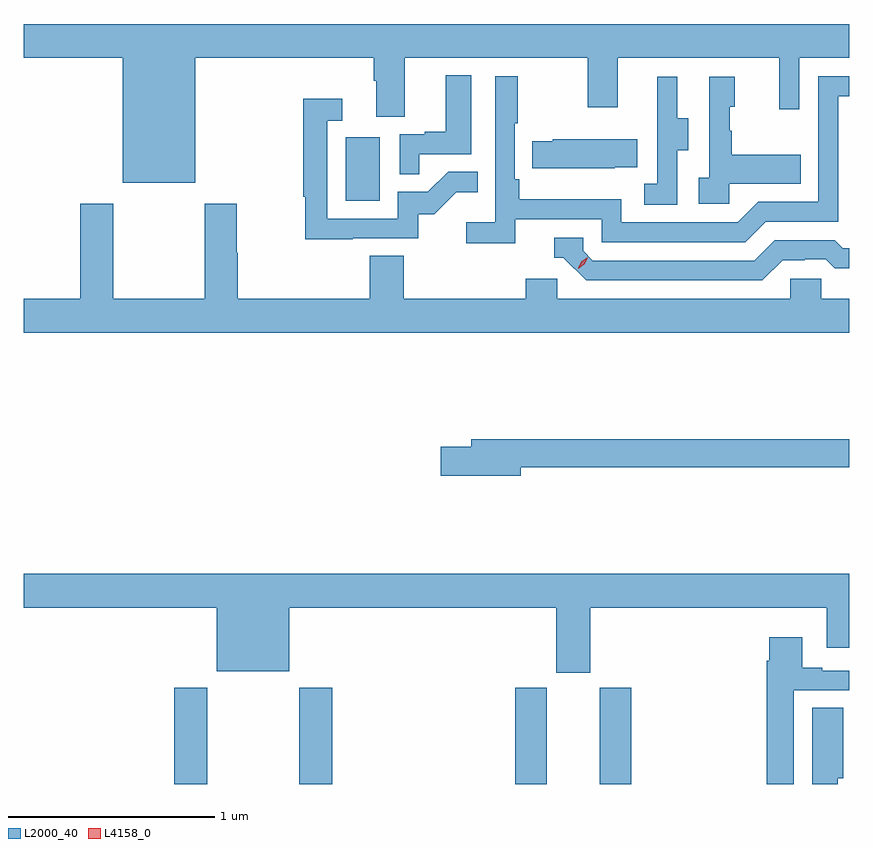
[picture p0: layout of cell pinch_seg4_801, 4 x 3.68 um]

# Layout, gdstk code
import gdstk
lib = gdstk.Library(unit=1e-6, precision=1e-09)
def R(c, l, rs):  # rectangles x0, y0, x1, y1
    for r in rs: c.add(gdstk.rectangle(r[:2], r[2:], *l))
def P(c, l, *ps):  # polygons
    for p in ps: c.add(gdstk.Polygon(p, *l))
L2000_40 = (2000, 40)
L4158_0 = (4158, 0)

pinch_seg4_801 = lib.new_cell('pinch_seg4_801')
R(pinch_seg4_801, L2000_40, [(816.725,807.953,816.885,808.42), (817.33,807.953,817.49,808.42), (818.378,807.953,818.53,808.419), (818.786,807.953,818.939,808.419), (817.556,810.78,817.72,811.087)])
P(pinch_seg4_801, L2000_40, [(816.826,811.472),(817.691,811.472),(817.691,811.36),(817.703,811.36),(817.703,811.186),(817.843,811.186),(817.843,811.472),(818.728,811.472),(818.728,811.233),(818.875,811.233),(818.875,811.472),(819.656,811.472),(819.656,811.224),(819.753,811.224),(819.753,811.472),(819.996,811.472),(819.996,811.636),(815.996,811.636),(815.996,811.472),(816.476,811.472),(816.476,810.866),(816.826,810.866)],
  [(817.913,811.005),(818.164,811.005),(818.164,811.387),(818.042,811.387),(818.042,811.114),(817.939,811.114),(817.939,811.101),(817.818,811.101),(817.818,810.907),(817.913,810.907)],
  [(818.378,810.69),(818.796,810.69),(818.796,810.579),(819.493,810.579),(819.592,810.678),(819.942,810.678),(819.942,811.287),(819.996,811.287),(819.996,811.383),(819.846,811.383),(819.846,810.774),(819.555,810.774),(819.456,810.675),(818.892,810.675),(818.892,810.787),(818.396,810.787),(818.396,810.883),(818.376,810.883),(818.376,811.156),(818.389,811.156),(818.389,811.384),(818.28,811.384),(818.28,810.676),(818.139,810.676),(818.139,810.574),(818.378,810.574)],
  [(819.162,811.024),(819.217,811.024),(819.217,811.179),(819.163,811.179),(819.163,811.381),(819.065,811.381),(819.065,811.167),(819.066,811.167),(819.066,810.863),(819.003,810.863),(819.003,810.76),(819.162,810.76)],
  [(819.414,810.863),(819.761,810.863),(819.761,811.003),(819.427,811.003),(819.427,811.118),(819.417,811.118),(819.417,811.236),(819.442,811.236),(819.442,811.381),(819.318,811.381),(819.318,810.89),(819.267,810.89),(819.267,810.765),(819.414,810.765)],
  [(817.589,810.597),(817.908,810.597),(817.908,810.714),(817.984,810.714),(818.091,810.821),(818.195,810.821),(818.195,810.92),(818.052,810.92),(817.954,810.822),(817.809,810.822),(817.809,810.693),(817.467,810.693),(817.467,811.167),(817.54,811.167),(817.54,811.273),(817.351,811.273),(817.351,810.8),(817.359,810.8),(817.359,810.592),(817.589,810.592)],
  [(818.861,810.941),(818.969,810.941),(818.969,811.078),(818.559,811.078),(818.559,811.068),(818.461,811.068),(818.461,810.938),(818.861,810.938)],
  [(819.996,810.304),(819.861,810.304),(819.861,810.402),(819.711,810.402),(819.711,810.304),(818.58,810.304),(818.58,810.402),(818.429,810.402),(818.429,810.304),(817.838,810.304),(817.838,810.512),(817.673,810.512),(817.673,810.304),(817.034,810.304),(817.034,810.527),(817.029,810.527),(817.029,810.766),(816.874,810.766),(816.874,810.304),(816.429,810.304),(816.429,810.766),(816.269,810.766),(816.269,810.304),(815.996,810.304),(815.996,810.14),(819.996,810.14)],
  [(819.673,810.492),(819.78,810.492),(819.78,810.495),(819.883,810.495),(819.925,810.453),(819.996,810.453),(819.996,810.549),(819.964,810.549),(819.925,810.588),(819.636,810.588),(819.537,810.489),(818.754,810.489),(818.706,810.537),(818.706,810.6),(818.567,810.6),(818.567,810.504),(818.61,810.504),(818.721,810.393),(819.574,810.393)],
  [(818.404,809.488),(819.996,809.488),(819.996,809.624),(818.165,809.624),(818.165,809.588),(818.016,809.588),(818.016,809.446),(818.404,809.446)],
  [(818.74,808.808),(819.887,808.808),(819.887,808.614),(819.996,808.614),(819.996,808.972),(815.996,808.972),(815.996,808.808),(816.932,808.808),(816.932,808.499),(817.282,808.499),(817.282,808.808),(818.576,808.808),(818.576,808.491),(818.74,808.491)],
  [(819.727,808.407),(819.996,808.407),(819.996,808.503),(819.865,808.503),(819.865,808.516),(819.769,808.516),(819.769,808.663),(819.608,808.663),(819.608,808.55),(819.596,808.55),(819.596,807.953),(819.727,807.953)],
  [(819.94,807.981),(819.967,807.981),(819.967,808.322),(819.818,808.322),(819.818,807.953),(819.94,807.953)])
P(pinch_seg4_801, L4158_0, [(818.682,810.451),(818.682,810.452),(818.698,810.485),(818.728,810.505),(818.728,810.505),(818.728,810.504),(818.713,810.471),(818.682,810.451)])

lib.write_gds('pinch_seg4_801.gds')
